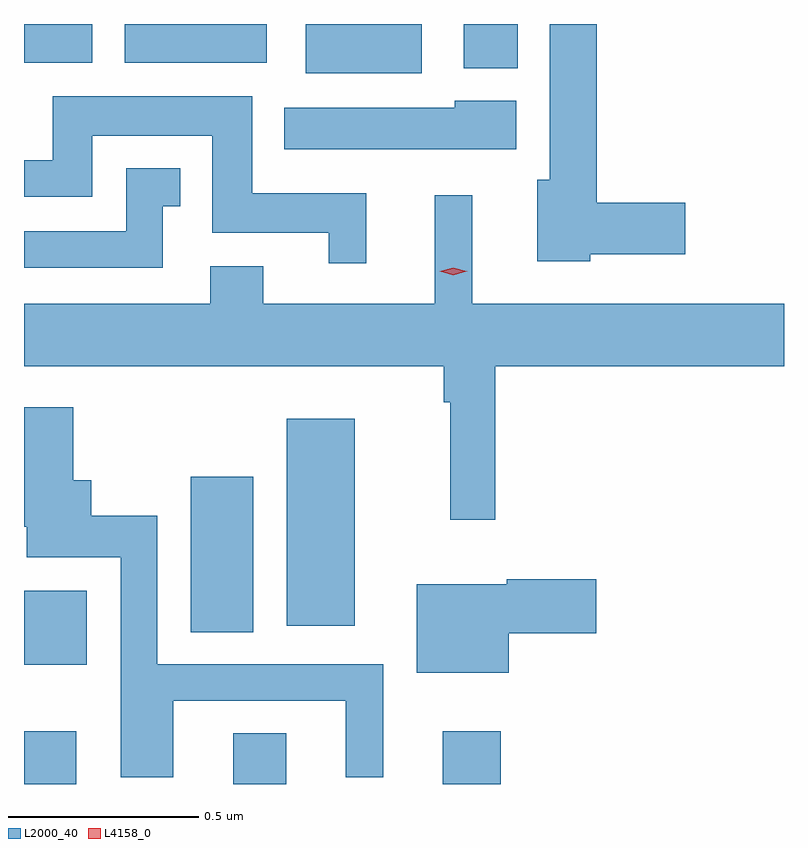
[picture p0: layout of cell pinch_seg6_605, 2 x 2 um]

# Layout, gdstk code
import gdstk
lib = gdstk.Library(unit=1e-6, precision=1e-09)
def R(c, l, rs):  # rectangles x0, y0, x1, y1
    for r in rs: c.add(gdstk.rectangle(r[:2], r[2:], *l))
def P(c, l, *ps):  # polygons
    for p in ps: c.add(gdstk.Polygon(p, *l))
L2000_40 = (2000, 40)
L4158_0 = (4158, 0)

pinch_seg6_605 = lib.new_cell('pinch_seg6_605')
R(pinch_seg6_605, L2000_40, [(542.725,963.552,542.863,963.691), (543.275,963.552,543.415,963.686), (543.827,963.552,543.98,963.691), (542.725,963.866,542.89,964.06), (543.164,963.952,543.328,964.36), (543.416,963.968,543.595,964.513), (543.467,965.423,543.772,965.552), (543.882,965.436,544.024,965.552), (542.725,965.45,542.905,965.552), (542.99,965.45,543.364,965.552)])
P(pinch_seg6_605, L2000_40, [(544.215,964.946),(544.465,964.946),(544.465,965.081),(544.232,965.081),(544.232,965.552),(544.109,965.552),(544.109,965.142),(544.076,965.142),(544.076,964.928),(544.215,964.928)],
  [(543.626,965.107),(543.325,965.107),(543.325,965.362),(542.801,965.362),(542.801,965.193),(542.725,965.193),(542.725,965.097),(542.905,965.097),(542.905,965.258),(543.221,965.258),(543.221,965.003),(543.527,965.003),(543.527,964.923),(543.626,964.923)],
  [(544.021,965.35),(543.858,965.35),(543.858,965.332),(543.41,965.332),(543.41,965.222),(544.021,965.222)],
  [(543.09,965.073),(543.136,965.073),(543.136,965.173),(542.994,965.173),(542.994,965.007),(542.725,965.007),(542.725,964.911),(543.09,964.911)],
  [(543.965,964.652),(544.725,964.652),(544.725,964.816),(543.904,964.816),(543.904,965.101),(543.806,965.101),(543.806,964.816),(543.355,964.816),(543.355,964.915),(543.215,964.915),(543.215,964.816),(542.725,964.816),(542.725,964.652),(543.829,964.652),(543.829,964.556),(543.847,964.556),(543.847,964.248),(543.965,964.248)],
  [(543.118,963.771),(543.572,963.771),(543.572,963.57),(543.67,963.57),(543.67,963.867),(543.075,963.867),(543.075,964.258),(542.902,964.258),(542.902,964.351),(542.854,964.351),(542.854,964.543),(542.725,964.543),(542.725,964.229),(542.732,964.229),(542.732,964.149),(542.979,964.149),(542.979,963.57),(543.118,963.57)],
  [(544,963.949),(544.231,963.949),(544.231,964.091),(543.996,964.091),(543.996,964.078),(543.758,964.078),(543.758,963.845),(544,963.845)])
P(pinch_seg6_605, L4158_0, [(543.855,964.891),(543.819,964.901),(543.819,964.901),(543.819,964.902),(543.855,964.911),(543.89,964.901),(543.891,964.901),(543.89,964.901)])

lib.write_gds('pinch_seg6_605.gds')
